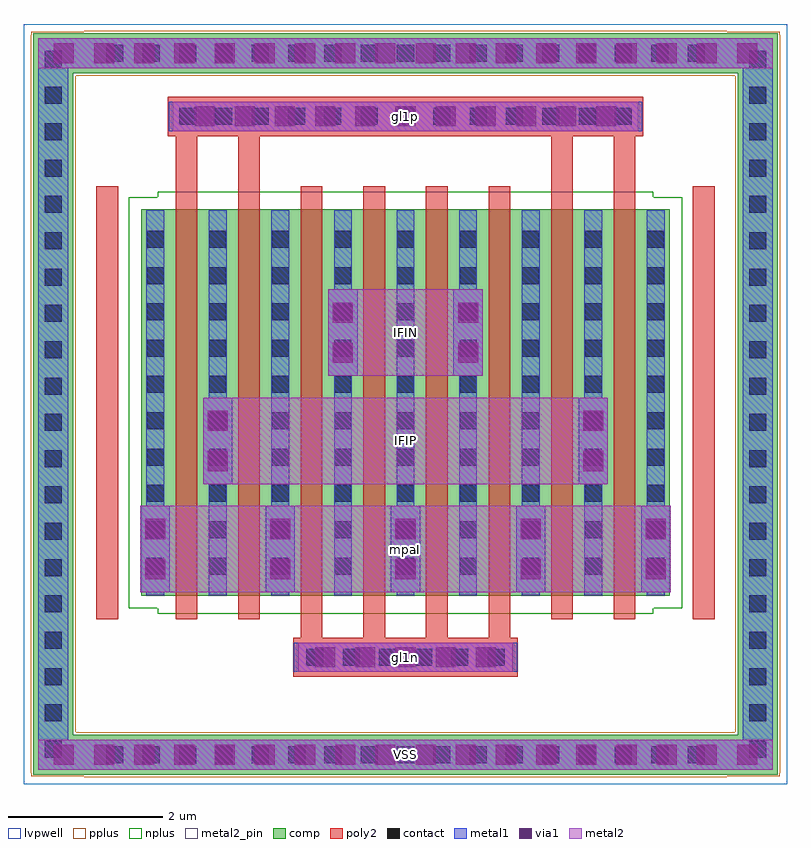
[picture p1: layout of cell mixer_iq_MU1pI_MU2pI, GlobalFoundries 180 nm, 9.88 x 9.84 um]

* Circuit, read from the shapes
.subckt mixer_iq_MU1pI_MU2pI IFIN IFIP VSS gl1n gl1p mpaI
XM1 IFIP gl1p mpaI VSS nfet_03v3 w=5u l=0.28u m=4
XM2 IFIN gl1n mpaI VSS nfet_03v3 w=5u l=0.28u m=4
.ends

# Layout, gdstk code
import gdstk
lib = gdstk.Library(unit=1e-6, precision=1e-09)
def R(c, l, rs):  # rectangles x0, y0, x1, y1
    for r in rs: c.add(gdstk.rectangle(r[:2], r[2:], *l))
def A(c, l, x, y, w, h, nx, ny, dx, dy):  # array of equal rectangles
    R(c, l, [(x+i*dx, y+j*dy, x+i*dx+w, y+j*dy+h) for i in range(nx) for j in range(ny)])
comp = (22, 0)
poly2 = (30, 0)
pplus = (31, 0)
nplus = (32, 0)
contact = (33, 0)
metal1 = (34, 0)
via1 = (35, 0)
metal2 = (36, 0)
metal2_pin = (36, 10)
lvpwell = (204, 0)

mixer_iq_mu1pi_mu2pi = lib.new_cell('mixer_iq_MU1pI_MU2pI')
R(mixer_iq_mu1pi_mu2pi, comp, [(-1.4,-0.82,8.24,-0.3), (-1.4,-0.3,-0.88,8.255), (7.72,-0.3,8.24,8.255), (0,1.495,6.84,6.495), (-1.4,8.255,8.24,8.775)])
A(mixer_iq_mu1pi_mu2pi, poly2, 2.065, 0.955, 0.28, 5.84, 4, 1, 0.81, 0)
R(mixer_iq_mu1pi_mu2pi, poly2, [(1.965,0.445,4.875,0.955), (-0.58,1.195,-0.3,6.795), (0.445,1.195,0.725,7.445), (1.255,1.195,1.535,7.445), (5.305,1.195,5.585,7.445), (6.115,1.195,6.395,7.445), (7.14,1.195,7.42,6.795), (0.345,7.445,6.495,7.955)])
R(mixer_iq_mu1pi_mu2pi, pplus, [(-0.74,-0.85,7.58,-0.84), (-1.42,-0.84,8.26,-0.795), (-1.43,-0.795,8.27,-0.27), (-1.43,-0.27,-0.85,8.225), (7.69,-0.27,8.27,8.225), (-1.43,8.225,8.27,8.75), (-1.42,8.75,8.26,8.795), (-0.74,8.795,7.58,8.805)])
R(mixer_iq_mu1pi_mu2pi, nplus, [(0.215,1.265,6.625,1.335), (-0.16,1.335,7,6.655), (0.215,6.655,6.625,6.725)])
A(mixer_iq_mu1pi_mu2pi, contact, -0.45, -0.67, 0.22, 0.22, 17, 2, 0.47, 9.075)
A(mixer_iq_mu1pi_mu2pi, contact, -1.25, -0.6, 0.22, 0.22, 1, 20, 0, 0.47)
A(mixer_iq_mu1pi_mu2pi, contact, 7.87, -0.6, 0.22, 0.22, 1, 20, 0, 0.47)
A(mixer_iq_mu1pi_mu2pi, contact, 2.135, 0.59, 0.22, 0.22, 6, 1, 0.47, 0)
A(mixer_iq_mu1pi_mu2pi, contact, 0.07, 1.77, 0.22, 0.22, 9, 10, 0.81, 0.47)
A(mixer_iq_mu1pi_mu2pi, contact, 0.49, 7.59, 0.22, 0.22, 13, 1, 0.47, 0)
A(mixer_iq_mu1pi_mu2pi, metal1, 0.065, 1.505, 0.23, 0.035, 5, 1, 1.62, 0)
A(mixer_iq_mu1pi_mu2pi, metal1, -0.01, 1.54, 0.38, 1.12, 5, 1, 1.62, 0)
A(mixer_iq_mu1pi_mu2pi, metal1, 0.065, 2.66, 0.23, 3.825, 5, 1, 1.62, 0)
R(mixer_iq_mu1pi_mu2pi, metal1, [(-1.335,-0.755,8.175,-0.365), (-1.335,-0.365,-0.945,8.32), (7.785,-0.365,8.175,8.32), (1.975,0.51,4.865,0.89), (0.875,1.505,1.105,2.94), (2.495,1.505,2.725,4.34), (4.115,1.505,4.345,4.34), (5.735,1.505,5.965,2.94), (0.8,2.94,1.18,4.06), (5.66,2.94,6.04,4.06), (0.875,4.06,1.105,6.485), (5.735,4.06,5.965,6.485), (2.42,4.34,2.8,5.46), (4.04,4.34,4.42,5.46), (2.495,5.46,2.725,6.485), (4.115,5.46,4.345,6.485), (0.355,7.51,6.485,7.89), (-1.335,8.32,8.175,8.71)])
A(mixer_iq_mu1pi_mu2pi, via1, -1.13, -0.69, 0.26, 0.26, 18, 2, 0.52, 9.075)
A(mixer_iq_mu1pi_mu2pi, via1, 2.25, 0.57, 0.26, 0.26, 5, 1, 0.52, 0)
A(mixer_iq_mu1pi_mu2pi, via1, 0.05, 1.71, 0.26, 0.26, 5, 2, 1.62, 0.52)
A(mixer_iq_mu1pi_mu2pi, via1, 0.69, 7.57, 0.26, 0.26, 11, 1, 0.52, 0)
R(mixer_iq_mu1pi_mu2pi, via1, [(0.86,3.11,1.12,3.37), (5.72,3.11,5.98,3.37), (0.86,3.63,1.12,3.89), (5.72,3.63,5.98,3.89), (2.48,4.51,2.74,4.77), (4.1,4.51,4.36,4.77), (2.48,5.03,2.74,5.29), (4.1,5.03,4.36,5.29)])
R(mixer_iq_mu1pi_mu2pi, metal2, [(-1.335,-0.755,8.175,-0.365), (2.03,0.51,4.81,0.89), (-0.01,1.54,6.85,2.66), (0.8,2.94,6.04,4.06), (2.42,4.34,4.42,5.46), (0.41,7.51,6.43,7.89), (-1.335,8.32,8.175,8.71)])
R(mixer_iq_mu1pi_mu2pi, metal2_pin, [(-1.335,-0.755,8.175,-0.365), (2.03,0.51,4.81,0.89), (-0.01,1.54,6.85,2.66), (0.8,2.94,6.04,4.06), (2.42,4.34,4.42,5.46), (0.41,7.51,6.43,7.89)])
R(mixer_iq_mu1pi_mu2pi, lvpwell, [(-1.52,-0.94,8.36,8.895)])
mixer_iq_mu1pi_mu2pi.add(gdstk.Label('mpaI', (3.42,2.1), layer=36, texttype=10))
mixer_iq_mu1pi_mu2pi.add(gdstk.Label('IFIP', (3.42,3.5), layer=36, texttype=10))
mixer_iq_mu1pi_mu2pi.add(gdstk.Label('IFIN', (3.42,4.9), layer=36, texttype=10))
mixer_iq_mu1pi_mu2pi.add(gdstk.Label('gl1p', (3.42,7.7), layer=36, texttype=10))
mixer_iq_mu1pi_mu2pi.add(gdstk.Label('gl1n', (3.42,0.7), layer=36, texttype=10))
mixer_iq_mu1pi_mu2pi.add(gdstk.Label('VSS', (3.42,-0.56), layer=36, texttype=10))

lib.write_gds('mixer_iq_MU1pI_MU2pI.gds')
